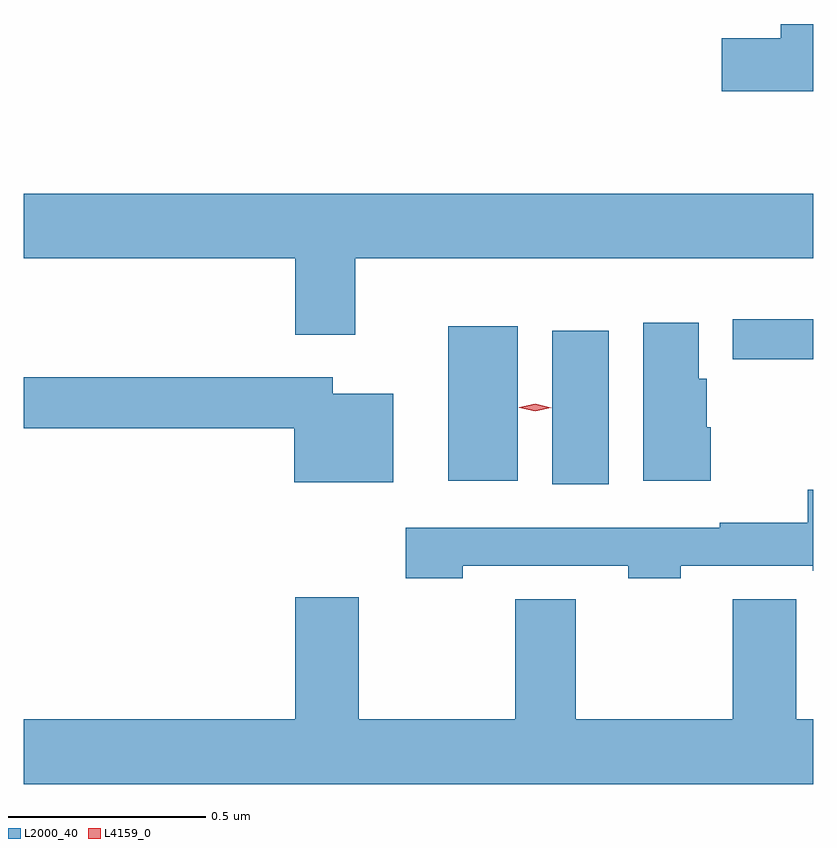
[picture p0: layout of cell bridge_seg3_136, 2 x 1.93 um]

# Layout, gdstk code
import gdstk
lib = gdstk.Library(unit=1e-6, precision=1e-09)
def R(c, l, rs):  # rectangles x0, y0, x1, y1
    for r in rs: c.add(gdstk.rectangle(r[:2], r[2:], *l))
def P(c, l, *ps):  # polygons
    for p in ps: c.add(gdstk.Polygon(p, *l))
L2000_40 = (2000, 40)
L4159_0 = (4159, 0)

bridge_seg3_136 = lib.new_cell('bridge_seg3_136')
R(bridge_seg3_136, L2000_40, [(220.184,680.364,220.327,680.752), (219.92,680.372,220.096,680.764), (220.641,680.68,220.845,680.782)])
P(bridge_seg3_136, L2000_40, [(220.845,681.53),(220.763,681.53),(220.763,681.494),(220.614,681.494),(220.614,681.359),(220.845,681.359)],
  [(219.685,680.936),(220.845,680.936),(220.845,681.1),(218.845,681.1),(218.845,680.936),(219.533,680.936),(219.533,680.742),(219.685,680.742)],
  [(220.585,680.508),(220.576,680.508),(220.576,680.631),(220.555,680.631),(220.555,680.773),(220.415,680.773),(220.415,680.372),(220.585,680.372)],
  [(219.781,680.593),(219.628,680.593),(219.628,680.635),(218.845,680.635),(218.845,680.506),(219.53,680.506),(219.53,680.369),(219.781,680.369)],
  [(219.957,680.157),(220.377,680.157),(220.377,680.125),(220.509,680.125),(220.509,680.157),(220.844,680.157),(220.844,680.145),(220.845,680.145),(220.845,680.35),(220.831,680.35),(220.831,680.266),(220.609,680.266),(220.609,680.253),(219.813,680.253),(219.813,680.125),(219.957,680.125)],
  [(220.845,679.768),(220.802,679.768),(220.802,680.072),(220.642,680.072),(220.642,679.768),(220.244,679.768),(220.244,680.072),(220.09,680.072),(220.09,679.768),(219.693,679.768),(219.693,680.077),(219.533,680.077),(219.533,679.768),(218.845,679.768),(218.845,679.604),(220.845,679.604)])
P(bridge_seg3_136, L4159_0, [(220.141,680.548),(220.1,680.558),(220.1,680.559),(220.1,680.559),(220.141,680.568),(220.181,680.558),(220.181,680.558),(220.181,680.558)])

lib.write_gds('bridge_seg3_136.gds')
